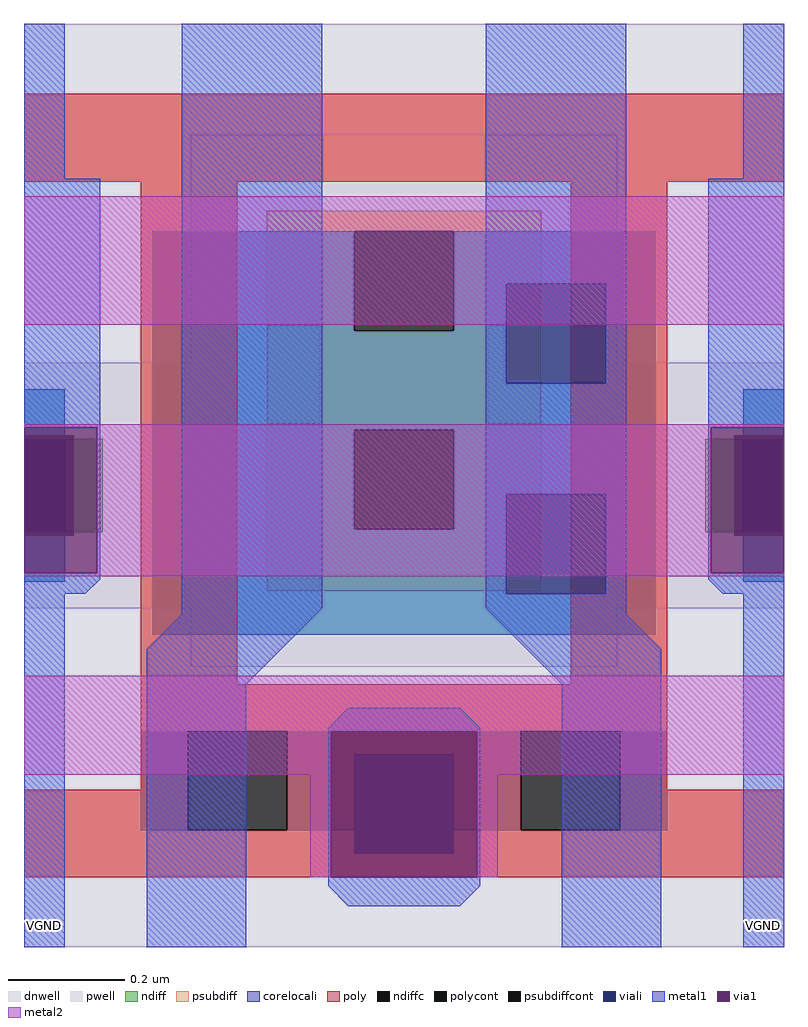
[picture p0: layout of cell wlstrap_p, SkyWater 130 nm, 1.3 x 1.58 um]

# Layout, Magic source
magic
tech sky130A
magscale 1 2
<< dnwell >>
rect 0 0 260 316
<< pwell >>
rect 57 200 203 278
rect 0 116 260 200
rect 57 96 203 116
<< ndiff >>
rect 14 142 27 174
rect 233 142 246 174
<< ndiffc >>
rect 0 142 14 174
rect 246 142 260 174
<< psubdiff >>
rect 83 245 177 252
rect 83 211 113 245
rect 147 211 177 245
rect 83 177 177 211
rect 83 143 113 177
rect 147 143 177 177
rect 83 122 177 143
<< psubdiffcont >>
rect 113 211 147 245
rect 113 143 147 177
<< poly >>
rect 0 262 260 292
rect 40 90 73 262
rect 187 90 220 262
rect 40 74 220 90
rect 40 54 56 74
rect 0 40 56 54
rect 90 40 170 74
rect 204 54 220 74
rect 204 40 260 54
rect 0 24 260 40
<< polycont >>
rect 56 40 90 74
rect 170 40 204 74
<< corelocali >>
rect 44 211 113 245
rect 147 227 216 245
rect 147 211 165 227
rect 44 193 165 211
rect 199 193 216 227
rect 0 175 14 191
rect 44 177 216 193
rect 44 143 113 177
rect 147 155 216 177
rect 246 175 260 191
rect 147 143 165 155
rect 0 125 14 141
rect 44 121 165 143
rect 199 121 216 155
rect 246 125 260 141
rect 44 107 216 121
rect 40 40 56 74
rect 90 66 170 74
rect 90 40 113 66
rect 147 40 170 66
rect 204 40 220 74
<< viali >>
rect 165 193 199 227
rect 0 174 17 175
rect 0 142 14 174
rect 14 142 17 174
rect 0 141 17 142
rect 165 121 199 155
rect 243 174 260 175
rect 243 142 246 174
rect 246 142 260 174
rect 243 141 260 142
rect 113 32 147 66
<< metal1 >>
rect 0 263 14 316
rect 0 178 26 263
rect 25 128 26 178
rect 0 126 26 128
rect 0 121 21 126
tri 21 121 26 126 nw
rect 0 0 14 121
rect 54 116 102 316
tri 42 102 54 114 se
rect 54 102 76 116
rect 42 0 76 102
tri 76 90 102 116 nw
rect 158 227 206 316
rect 246 263 260 316
rect 158 193 165 227
rect 199 193 206 227
rect 158 155 206 193
rect 158 121 165 155
rect 199 121 206 155
rect 234 178 260 263
rect 234 128 235 178
rect 234 126 260 128
tri 234 121 239 126 ne
rect 239 121 260 126
rect 158 116 206 121
tri 158 90 184 116 ne
rect 184 102 206 116
tri 206 102 218 114 sw
tri 104 75 111 82 se
rect 111 75 149 82
tri 149 75 156 82 sw
rect 104 74 156 75
rect 104 24 105 74
rect 155 24 156 74
rect 104 21 156 24
tri 104 14 111 21 ne
rect 111 14 149 21
tri 149 14 156 21 nw
rect 184 0 218 102
rect 246 0 260 121
<< via1 >>
rect 0 175 25 178
rect 0 141 17 175
rect 17 141 25 175
rect 0 128 25 141
rect 235 175 260 178
rect 235 141 243 175
rect 243 141 260 175
rect 235 128 260 141
rect 105 66 155 74
rect 105 32 113 66
rect 113 32 147 66
rect 147 32 155 66
rect 105 24 155 32
<< metal2 >>
rect 0 213 260 257
rect 0 178 260 179
rect 25 128 235 178
rect 0 127 260 128
rect 0 74 260 93
rect 0 59 105 74
rect 98 24 105 59
rect 155 59 260 74
rect 155 24 162 59
<< labels >>
rlabel metal1 s 0 0 14 15 4 VGND
rlabel metal1 s 246 0 260 15 4 VGND
<< end >>
